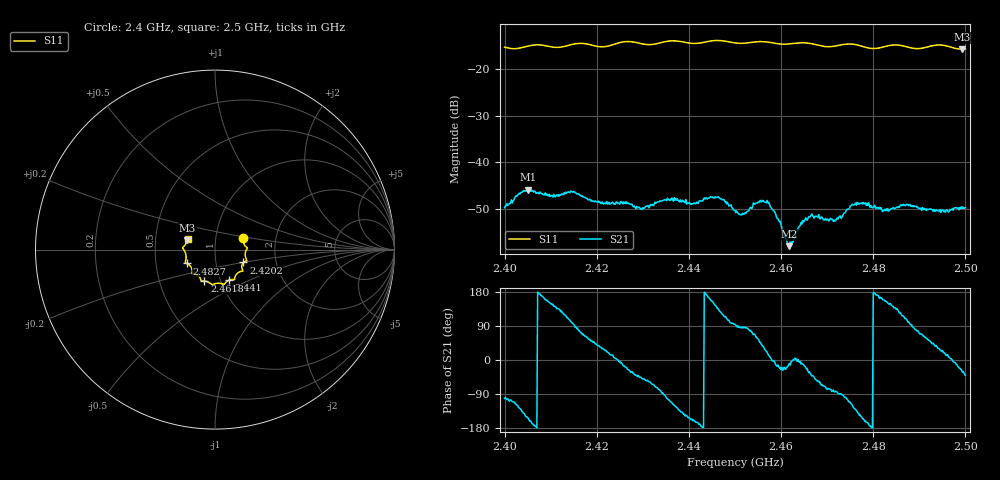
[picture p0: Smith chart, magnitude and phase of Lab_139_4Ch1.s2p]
# Hz S RI R 50
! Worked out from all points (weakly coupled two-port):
!   601 points, 2.4 GHz to 2.5 GHz, reference 50 ohm
!   highest |S21| = -45.87 dB at 2.4052 GHz (marker M1); lowest = -58.0 dB at 2.4617 GHz (marker M2)
!   lowest |S11| = -15.8 dB at 2.4993 GHz (marker M3), VSWR 1.39, Z = 36.5 + j3.84 ohm
!   |S11| at or under -10 dB: start of sweep to end of sweep
!   S12 and S22 are empty: the file has one direction only
!   S11 on the Smith chart (normalised r, x): 2.4 GHz: 1.36, +0.18; 2.4202 GHz: 1.36, -0.20; 2.441 GHz: 1.10, -0.39; 2.4618 GHz: 0.84, -0.30; 2.4827 GHz: 0.72, -0.11; 2.5 GHz: 0.73, +0.09
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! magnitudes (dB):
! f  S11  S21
! 2.4 GHz  -15.4  -49.7
! 2.4052 GHz  -15.1  -45.9
! 2.4167 GHz  -14.5  -47.3
! 2.4202 GHz  -15.2  -48.5
! 2.4298 GHz  -14.6  -50.1
! 2.4333 GHz  -14.5  -48.5
! 2.441 GHz  -14.6  -48.8
! 2.4462 GHz  -13.9  -47.4
! 2.45 GHz  -14.4  -50.3
! 2.4518 GHz  -14.5  -51.1
! 2.4545 GHz  -14.2  -48.7
! 2.457 GHz  -14.2  -48.2
! 2.4617 GHz  -14.7  -58.0
! 2.4618 GHz  -14.6  -57.3
! 2.4642 GHz  -14.4  -53.5
! 2.4667 GHz  -14.6  -51.1
! 2.4718 GHz  -15.1  -52.6
! 2.477 GHz  -15.0  -49.0
! 2.4827 GHz  -15.2  -50.4
! 2.4833 GHz  -15.0  -50.5
! 2.4993 GHz  -15.8  -49.9
! 2.5 GHz  -15.7  -49.7
